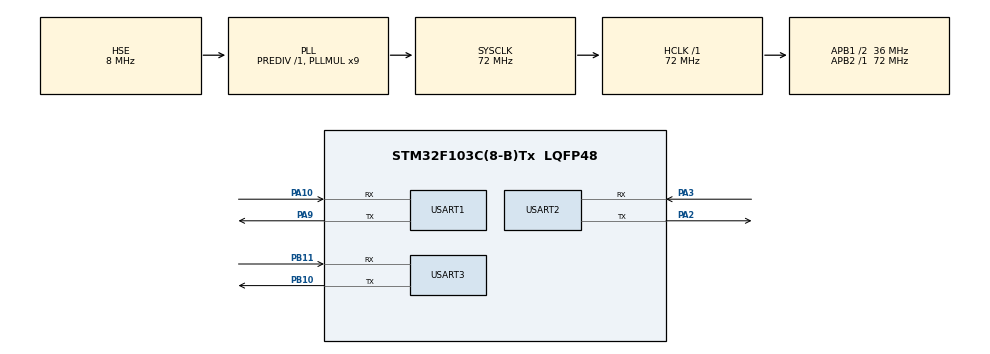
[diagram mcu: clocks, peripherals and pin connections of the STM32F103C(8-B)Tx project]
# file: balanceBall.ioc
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Dma.Request0=USART1_RX
Dma.Request1=USART1_TX
Dma.Request2=USART2_RX
Dma.Request3=USART2_TX
Dma.Request4=USART3_RX
Dma.Request5=USART3_TX
Dma.USART1_RX.0.Direction=DMA_PERIPH_TO_MEMORY
Dma.USART1_RX.0.Instance=DMA1_Channel5
Dma.USART1_RX.0.MemDataAlignment=DMA_MDATAALIGN_BYTE
Dma.USART1_RX.0.MemInc=DMA_MINC_ENABLE
Dma.USART1_RX.0.Mode=DMA_NORMAL
Dma.USART1_RX.0.PeriphDataAlignment=DMA_PDATAALIGN_BYTE
Dma.USART1_RX.0.PeriphInc=DMA_PINC_DISABLE
Dma.USART1_RX.0.Priority=DMA_PRIORITY_LOW
Dma.USART1_TX.1.Direction=DMA_MEMORY_TO_PERIPH
Dma.USART1_TX.1.Instance=DMA1_Channel4
Dma.USART1_TX.1.MemDataAlignment=DMA_MDATAALIGN_BYTE
Dma.USART1_TX.1.MemInc=DMA_MINC_ENABLE
Dma.USART1_TX.1.Mode=DMA_NORMAL
Dma.USART1_TX.1.PeriphDataAlignment=DMA_PDATAALIGN_BYTE
Dma.USART1_TX.1.PeriphInc=DMA_PINC_DISABLE
Dma.USART1_TX.1.Priority=DMA_PRIORITY_LOW
Dma.USART2_RX.2.Direction=DMA_PERIPH_TO_MEMORY
Dma.USART2_RX.2.Instance=DMA1_Channel6
Dma.USART2_RX.2.MemDataAlignment=DMA_MDATAALIGN_BYTE
Dma.USART2_RX.2.MemInc=DMA_MINC_ENABLE
Dma.USART2_RX.2.Mode=DMA_NORMAL
Dma.USART2_RX.2.PeriphDataAlignment=DMA_PDATAALIGN_BYTE
Dma.USART2_RX.2.PeriphInc=DMA_PINC_DISABLE
Dma.USART2_RX.2.Priority=DMA_PRIORITY_LOW
Dma.USART2_TX.3.Direction=DMA_MEMORY_TO_PERIPH
Dma.USART2_TX.3.Instance=DMA1_Channel7
Dma.USART2_TX.3.MemDataAlignment=DMA_MDATAALIGN_BYTE
Dma.USART2_TX.3.MemInc=DMA_MINC_ENABLE
Dma.USART2_TX.3.Mode=DMA_NORMAL
Dma.USART2_TX.3.PeriphDataAlignment=DMA_PDATAALIGN_BYTE
Dma.USART2_TX.3.PeriphInc=DMA_PINC_DISABLE
Dma.USART2_TX.3.Priority=DMA_PRIORITY_LOW
Dma.USART3_RX.4.Direction=DMA_PERIPH_TO_MEMORY
Dma.USART3_RX.4.Instance=DMA1_Channel3
Dma.USART3_RX.4.MemDataAlignment=DMA_MDATAALIGN_BYTE
Dma.USART3_RX.4.MemInc=DMA_MINC_ENABLE
Dma.USART3_RX.4.Mode=DMA_NORMAL
Dma.USART3_RX.4.PeriphDataAlignment=DMA_PDATAALIGN_BYTE
Dma.USART3_RX.4.PeriphInc=DMA_PINC_DISABLE
Dma.USART3_RX.4.Priority=DMA_PRIORITY_LOW
Dma.USART3_TX.5.Direction=DMA_MEMORY_TO_PERIPH
Dma.USART3_TX.5.Instance=DMA1_Channel2
Dma.USART3_TX.5.MemDataAlignment=DMA_MDATAALIGN_BYTE
Dma.USART3_TX.5.MemInc=DMA_MINC_ENABLE
Dma.USART3_TX.5.Mode=DMA_NORMAL
Dma.USART3_TX.5.PeriphDataAlignment=DMA_PDATAALIGN_BYTE
Dma.USART3_TX.5.PeriphInc=DMA_PINC_DISABLE
Dma.USART3_TX.5.Priority=DMA_PRIORITY_LOW
Mcu.Family=STM32F1
Mcu.Name=STM32F103C(8-B)Tx
Mcu.Package=LQFP48
NVIC.DMA1_Channel2_IRQn=true\:0\:0\:false\:false\:true\:false\:true\:true
NVIC.DMA1_Channel3_IRQn=true\:0\:0\:false\:false\:true\:false\:true\:true
NVIC.DMA1_Channel4_IRQn=true\:0\:0\:false\:false\:true\:false\:true\:true
NVIC.DMA1_Channel5_IRQn=true\:0\:0\:false\:false\:true\:false\:true\:true
NVIC.DMA1_Channel6_IRQn=true\:0\:0\:false\:false\:true\:false\:true\:true
NVIC.DMA1_Channel7_IRQn=true\:0\:0\:false\:false\:true\:false\:true\:true
NVIC.PriorityGroup=NVIC_PRIORITYGROUP_4
NVIC.USART1_IRQn=true\:0\:0\:false\:false\:true\:false\:true\:true
NVIC.USART2_IRQn=true\:0\:0\:false\:false\:true\:false\:true\:true
NVIC.USART3_IRQn=true\:0\:0\:false\:false\:true\:false\:true\:true
PA10.Mode=Asynchronous
PA10.Signal=USART1_RX
PA13.Mode=Serial_Wire
PA13.Signal=SYS_JTMS-SWDIO
PA14.Mode=Serial_Wire
PA14.Signal=SYS_JTCK-SWCLK
PA2.Mode=Asynchronous
PA2.Signal=USART2_TX
PA3.Mode=Asynchronous
PA3.Signal=USART2_RX
PA9.Mode=Asynchronous
PA9.Signal=USART1_TX
PB10.Mode=Asynchronous
PB10.Signal=USART3_TX
PB11.Mode=Asynchronous
PB11.Signal=USART3_RX
PD0-OSC_IN.Mode=HSE-External-Oscillator
PD0-OSC_IN.Signal=RCC_OSC_IN
PD1-OSC_OUT.Mode=HSE-External-Oscillator
PD1-OSC_OUT.Signal=RCC_OSC_OUT
ProjectManager.HeapSize=0x200
ProjectManager.StackSize=0x400
ProjectManager.TargetToolchain=CMake
RCC.AHBFreq_Value=72000000
RCC.APB1CLKDivider=RCC_HCLK_DIV2
RCC.APB1Freq_Value=36000000
RCC.APB1TimFreq_Value=72000000
RCC.APB2Freq_Value=72000000
RCC.APB2TimFreq_Value=72000000
RCC.HCLKFreq_Value=72000000
RCC.PLLMUL=RCC_PLL_MUL9
RCC.PLLSourceVirtual=RCC_PLLSOURCE_HSE
RCC.SYSCLKFreq_VALUE=72000000
RCC.SYSCLKSource=RCC_SYSCLKSOURCE_PLLCLK
RCC.USBFreq_Value=72000000
USART1.VirtualMode=VM_ASYNC
USART2.VirtualMode=VM_ASYNC
USART3.VirtualMode=VM_ASYNC
board=custom

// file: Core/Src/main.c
/* USER CODE BEGIN Header */
/**
  ******************************************************************************
  * @file           : main.c
  * @brief          : Main program body
  ******************************************************************************
  * @attention
  *
  * Copyright (c) 2026 STMicroelectronics.
  * All rights reserved.
  *
  * This software is licensed under terms that can be found in the LICENSE file
  * in the root directory of this software component.
  * If no LICENSE file comes with this software, it is provided AS-IS.
  *
  ******************************************************************************
  */
/* USER CODE END Header */
#include "main.h"
#include "dma.h"
#include "usart.h"
#include "gpio.h"

/* USER CODE BEGIN Includes */
#include "balance_motor.h"
#include "emm_v5_uart.h"
#include "debug_cli.h"
/* USER CODE END Includes */

/* USER CODE BEGIN PD */
#define EMM_V5_RESPONSE_TIMEOUT_MS 100U  /* Emm V5 typical response < 50ms at 115200 baud */
/* USER CODE END PD */

/* USER CODE BEGIN PV */
EmmV5Uart g_emm_uart;
BalanceMotor g_balance_motor;
DebugCli g_debug_cli;
/* USER CODE END PV */

void SystemClock_Config(void);

int main(void)
{

  /* MCU Configuration--------------------------------------------------------*/

  /* Reset of all peripherals, Initializes the Flash interface and the Systick. */
  HAL_Init();

  /* Configure the system clock */
  SystemClock_Config();

  /* Initialize all configured peripherals */
  MX_GPIO_Init();
  MX_DMA_Init();
  MX_USART1_UART_Init();
  MX_USART2_UART_Init();
  MX_USART3_UART_Init();
  /* USER CODE BEGIN 2 */
  extern DMA_HandleTypeDef hdma_usart3_rx;

  const BalanceMotorConfig motor_config = {
    .address = 0x01U,
    .pulses_per_position_unit = 1.0f,
    .max_consecutive_failures = 3U,
  };
  const BalanceMotorTransport motor_transport = {
    .send = emm_v5_uart_send,
    .context = &g_emm_uart,
  };

  emm_v5_uart_init(&g_emm_uart, &huart2, EMM_V5_RESPONSE_TIMEOUT_MS);
  balance_motor_init(&g_balance_motor, &motor_config, motor_transport);

  debug_cli_init(&g_debug_cli, &huart3);
  HAL_UARTEx_ReceiveToIdle_DMA(&huart3, g_debug_cli.rx_buf, DEBUG_CLI_RX_BUF);
  __HAL_DMA_DISABLE_IT(&hdma_usart3_rx, DMA_IT_HT); /* disable half-transfer, not needed */

  /* === 简单测试序列：使能 -> 移动1000脉冲 === */
  HAL_Delay(500); // 等待初始化稳定

  // 1. 使能电机
  uint8_t enable_frame[EMM_V5_MAX_FRAME_SIZE];
  EmmV5Frame enable = {enable_frame, sizeof(enable_frame), 0};
  emm_v5_encode_enable(motor_config.address, true, false, &enable);
  emm_v5_uart_send(&g_emm_uart, enable.data, enable.length, 0xF3U, 3U);
  HAL_Delay(200); // 等待使能完成

  // 2. 直接发送位置命令：1000脉冲，100rpm，加速度10
  EmmV5PositionCommand pos_cmd = {
    .direction = EMM_V5_DIRECTION_CW,
    .speed_rpm = 100,
    .acceleration = 10,
    .pulse_count = 1000,
    .absolute = true,
    .synchronized = false
  };
  uint8_t pos_frame[EMM_V5_MAX_FRAME_SIZE];
  EmmV5Frame pos = {pos_frame, sizeof(pos_frame), 0};
  emm_v5_encode_position(motor_config.address, &pos_cmd, &pos);
  emm_v5_uart_send(&g_emm_uart, pos.data, pos.length, 0xFDU, 3U);

  /* USER CODE END 2 */

  /* Infinite loop */
  while (1)
  {

    /* USER CODE BEGIN 3 */
    EmmV5UartResult uart_result;

    emm_v5_uart_poll(&g_emm_uart, HAL_GetTick());
    if (emm_v5_uart_take_result(&g_emm_uart, &uart_result))
    {
      if (uart_result.state == EMM_V5_UART_COMPLETE)
      {
        balance_motor_on_response(&g_balance_motor,
                                  uart_result.expected_function,
                                  uart_result.response,
                                  uart_result.response_length);
      }
      else
      {
        balance_motor_on_transport_error(&g_balance_motor);
      }
    }
    balance_motor_process(&g_balance_motor);
  }
  /* USER CODE END 3 */
}

void SystemClock_Config(void)
{
  RCC_OscInitTypeDef RCC_OscInitStruct = {0};
  RCC_ClkInitTypeDef RCC_ClkInitStruct = {0};

  /** Initializes the RCC Oscillators according to the specified parameters
  * in the RCC_OscInitTypeDef structure.
  */
  RCC_OscInitStruct.OscillatorType = RCC_OSCILLATORTYPE_HSE;
  RCC_OscInitStruct.HSEState = RCC_HSE_ON;
  RCC_OscInitStruct.HSEPredivValue = RCC_HSE_PREDIV_DIV1;
  RCC_OscInitStruct.HSIState = RCC_HSI_ON;
  RCC_OscInitStruct.PLL.PLLState = RCC_PLL_ON;
  RCC_OscInitStruct.PLL.PLLSource = RCC_PLLSOURCE_HSE;
  RCC_OscInitStruct.PLL.PLLMUL = RCC_PLL_MUL9;
  if (HAL_RCC_OscConfig(&RCC_OscInitStruct) != HAL_OK)
  {
    Error_Handler();
  }

  /** Initializes the CPU, AHB and APB buses clocks
  */
  RCC_ClkInitStruct.ClockType = RCC_CLOCKTYPE_HCLK|RCC_CLOCKTYPE_SYSCLK
                              |RCC_CLOCKTYPE_PCLK1|RCC_CLOCKTYPE_PCLK2;
  RCC_ClkInitStruct.SYSCLKSource = RCC_SYSCLKSOURCE_PLLCLK;
  RCC_ClkInitStruct.AHBCLKDivider = RCC_SYSCLK_DIV1;
  RCC_ClkInitStruct.APB1CLKDivider = RCC_HCLK_DIV2;
  RCC_ClkInitStruct.APB2CLKDivider = RCC_HCLK_DIV1;

  if (HAL_RCC_ClockConfig(&RCC_ClkInitStruct, FLASH_LATENCY_2) != HAL_OK)
  {
    Error_Handler();
  }
}

/* USER CODE BEGIN 4 */
void HAL_UART_TxCpltCallback(UART_HandleTypeDef *huart)
{
  if (huart->Instance == USART2)
  {
    emm_v5_uart_on_tx_complete(&g_emm_uart);
  }
}

void HAL_UARTEx_RxEventCallback(UART_HandleTypeDef *huart, uint16_t size)
{
  if (huart->Instance == USART2)
  {
    emm_v5_uart_on_rx_event(&g_emm_uart, size);
  }
  else if (huart->Instance == USART3)
  {
    extern DMA_HandleTypeDef hdma_usart3_rx;
    debug_cli_process_line(&g_debug_cli, (const char *)g_debug_cli.rx_buf, size);
    /* Restart DMA reception for the next command */
    HAL_UARTEx_ReceiveToIdle_DMA(&huart3, g_debug_cli.rx_buf, DEBUG_CLI_RX_BUF);
    __HAL_DMA_DISABLE_IT(&hdma_usart3_rx, DMA_IT_HT);
  }
}

void HAL_UART_ErrorCallback(UART_HandleTypeDef *huart)
{
  if (huart->Instance == USART2)
  {
    emm_v5_uart_on_error(&g_emm_uart);
  }
  else if (huart->Instance == USART3)
  {
    extern DMA_HandleTypeDef hdma_usart3_rx;
    /* Restart DMA reception after any UART3 error */
    HAL_UARTEx_ReceiveToIdle_DMA(&huart3, g_debug_cli.rx_buf, DEBUG_CLI_RX_BUF);
    __HAL_DMA_DISABLE_IT(&hdma_usart3_rx, DMA_IT_HT);
  }
}

/* USER CODE END 4 */

void Error_Handler(void)
{
  __disable_irq();
  while (1)
  {
  }
}
